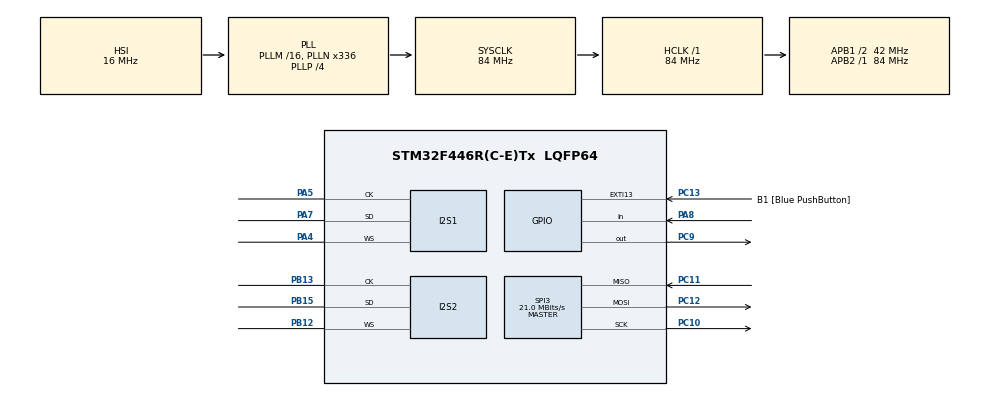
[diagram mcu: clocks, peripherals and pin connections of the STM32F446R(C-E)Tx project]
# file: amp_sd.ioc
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I2S1.ErrorAudioFreq=0.0 %
I2S1.FullDuplexMode=I2S_FULLDUPLEXMODE_DISABLE
I2S1.Instance=SPI$Index
I2S1.RealAudioFreq=8.0 KHz
I2S1.VirtualMode=I2S_MODE_MASTER
I2S2.DataFormat=I2S_DATAFORMAT_24B
I2S2.ErrorAudioFreq=-0.27 %
I2S2.FullDuplexMode=I2S_FULLDUPLEXMODE_DISABLE
I2S2.Instance=SPI$Index
I2S2.Mode=I2S_MODE_MASTER_RX
I2S2.RealAudioFreq=7.978 KHz
I2S2.Standard=I2S_STANDARD_MSB
I2S2.VirtualMode=I2S_MODE_MASTER
Mcu.Family=STM32F4
Mcu.Name=STM32F446R(C-E)Tx
Mcu.Package=LQFP64
NVIC.PriorityGroup=NVIC_PRIORITYGROUP_0
PA13.GPIO_Label=TMS
PA13.Signal=SYS_JTMS-SWDIO
PA14.GPIO_Label=TCK
PA14.Signal=SYS_JTCK-SWCLK
PA15.Signal=SPI3_NSS
PA2.GPIO_Label=USART_TX
PA2.Signal=USART2_TX
PA3.GPIO_Label=USART_RX
PA3.Signal=USART2_RX
PA4.Mode=Half_Duplex_Master
PA4.Signal=I2S1_WS
PA5.Mode=Half_Duplex_Master
PA5.Signal=I2S1_CK
PA7.Mode=Half_Duplex_Master
PA7.Signal=I2S1_SD
PA8.Signal=GPIO_Input
PB12.Mode=Half_Duplex_Master
PB12.Signal=I2S2_WS
PB13.Mode=Half_Duplex_Master
PB13.Signal=I2S2_CK
PB15.Mode=Half_Duplex_Master
PB15.Signal=I2S2_SD
PB3.GPIO_Label=SWO
PB3.Signal=SYS_JTDO-SWO
PC10.Mode=Full_Duplex_Master
PC10.Signal=SPI3_SCK
PC11.Mode=Full_Duplex_Master
PC11.Signal=SPI3_MISO
PC12.Mode=Full_Duplex_Master
PC12.Signal=SPI3_MOSI
PC13.GPIO_Label=B1 [Blue PushButton]
PC13.GPIO_ModeDefaultEXTI=GPIO_MODE_IT_FALLING
PC13.Signal=GPXTI13
PC14-OSC32_IN.Signal=RCC_OSC32_IN
PC15-OSC32_OUT.Signal=RCC_OSC32_OUT
PC9.Signal=GPIO_Output
PH0-OSC_IN.Signal=RCC_OSC_IN
PH1-OSC_OUT.Signal=RCC_OSC_OUT
ProjectManager.HeapSize=0x200
ProjectManager.StackSize=0x400
ProjectManager.TargetToolchain=STM32CubeIDE
RCC.AHBFreq_Value=84000000
RCC.APB1CLKDivider=RCC_HCLK_DIV2
RCC.APB1Freq_Value=42000000
RCC.APB1TimFreq_Value=84000000
RCC.APB2Freq_Value=84000000
RCC.APB2TimFreq_Value=84000000
RCC.CortexFreq_Value=84000000
RCC.FLatency-AdvancedSettings=FLASH_LATENCY_2
RCC.HCLKFreq_Value=84000000
RCC.HSE_VALUE=8000000
RCC.HSI_VALUE=16000000
RCC.LSE_VALUE=32768
RCC.PLLN=336
RCC.PLLP=RCC_PLLP_DIV4
RCC.SYSCLKFreq_VALUE=84000000
RCC.SYSCLKSource=RCC_SYSCLKSOURCE_PLLCLK
RCC.USBFreq_Value=168000000
RCC.VCOOutputFreq_Value=336000000
SPI3.CalculateBaudRate=21.0 MBits/s
SPI3.Direction=SPI_DIRECTION_2LINES
SPI3.Mode=SPI_MODE_MASTER
SPI3.VirtualType=VM_MASTER
board=NUCLEO-F446RE

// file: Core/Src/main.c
/* USER CODE BEGIN Header */
/**
  ******************************************************************************
  * @file           : main.c
  * @brief          : Main program body
  ******************************************************************************
  * @attention
  *
  * Copyright (c) 2023 STMicroelectronics.
  * All rights reserved.
  *
  * This software is licensed under terms that can be found in the LICENSE file
  * in the root directory of this software component.
  * If no LICENSE file comes with this software, it is provided AS-IS.
  *
  ******************************************************************************
  */
/* USER CODE END Header */
#include "main.h"

/* USER CODE BEGIN PTD */
typedef struct  WAV_HEADER{
    char                RIFF[4];        // RIFF Header      Magic header
    unsigned long       ChunkSize;      // RIFF Chunk Size
    char                WAVE[4];        // WAVE Header
    char                fmt[4];         // FMT header
    unsigned long       Subchunk1Size;  // Size of the fmt chunk
    unsigned short      AudioFormat;    // Audio format 1=PCM,6=mulaw,7=alaw, 257=IBM Mu-Law, 258=IBM A-Law, 259=ADPCM
    unsigned short      NumOfChan;      // Number of channels 1=Mono 2=Sterio
    unsigned long       SamplesPerSec;  // Sampling Frequency in Hz
    unsigned long       bytesPerSec;    // bytes per second
    unsigned short      blockAlign;     // 2=16-bit mono, 4=16-bit stereo
    unsigned short      bitsPerSample;  // Number of bits per sample
    char                Subchunk2ID[4]; // "data"  string
    unsigned long       Subchunk2Size;  // Sampled data length
}wav_hdr;

//typedef struct WaveHeader
//{
//        char RIFF_marker[4];
//        uint32_t file_size;
//        char filetype_header[4];
//        char format_marker[4];
//        uint32_t data_header_length;
//        uint16_t format_type;
//        uint16_t number_of_channels;
//        uint32_t sample_rate;
//        uint32_t bytes_per_second;
//        uint16_t bytes_per_frame;
//        uint16_t bits_per_sample;
//};
/* USER CODE END PTD */

I2S_HandleTypeDef hi2s1;
I2S_HandleTypeDef hi2s2;

SPI_HandleTypeDef hspi3;

void SystemClock_Config(void);
void PeriphCommonClock_Config(void);
static void MX_GPIO_Init(void);
static void MX_I2S1_Init(void);
static void MX_I2S2_Init(void);
static void MX_SPI3_Init(void);

/* USER CODE BEGIN 0 */
int button_press = 0;
uint16_t data_in[2];
/* USER CODE END 0 */

int main(void)
{

  /* MCU Configuration--------------------------------------------------------*/

  /* Reset of all peripherals, Initializes the Flash interface and the Systick. */
  HAL_Init();

  /* Configure the system clock */
  SystemClock_Config();

/* Configure the peripherals common clocks */
  PeriphCommonClock_Config();

  /* Initialize all configured peripherals */
  MX_GPIO_Init();
  MX_I2S1_Init();
  MX_I2S2_Init();
  MX_SPI3_Init();

  /* Infinite loop */
  /* USER CODE BEGIN WHILE */
  while (1)
  {
	if(HAL_GPIO_ReadPin(GPIOA,GPIO_PIN_8) == 1) {button_press++;}
	volatile HAL_StatusTypeDef result = HAL_I2S_Receive(&hi2s1, data_in, 2, 100);

	if (result == HAL_OK && button_press == 1) {
		volatile int32_t data_full = (int32_t) data_in[0] << 16 | data_in[1];
		volatile int16_t data_short = (int16_t) data_in[0];

		volatile uint32_t counter = 10;
		while(counter--);
	}
    /* USER CODE END WHILE */
  }
}

void SystemClock_Config(void)
{
  RCC_OscInitTypeDef RCC_OscInitStruct = {0};
  RCC_ClkInitTypeDef RCC_ClkInitStruct = {0};

  /** Configure the main internal regulator output voltage
  */
  __HAL_RCC_PWR_CLK_ENABLE();
  __HAL_PWR_VOLTAGESCALING_CONFIG(PWR_REGULATOR_VOLTAGE_SCALE3);

  /** Initializes the RCC Oscillators according to the specified parameters
  * in the RCC_OscInitTypeDef structure.
  */
  RCC_OscInitStruct.OscillatorType = RCC_OSCILLATORTYPE_HSI;
  RCC_OscInitStruct.HSIState = RCC_HSI_ON;
  RCC_OscInitStruct.HSICalibrationValue = RCC_HSICALIBRATION_DEFAULT;
  RCC_OscInitStruct.PLL.PLLState = RCC_PLL_ON;
  RCC_OscInitStruct.PLL.PLLSource = RCC_PLLSOURCE_HSI;
  RCC_OscInitStruct.PLL.PLLM = 16;
  RCC_OscInitStruct.PLL.PLLN = 336;
  RCC_OscInitStruct.PLL.PLLP = RCC_PLLP_DIV4;
  RCC_OscInitStruct.PLL.PLLQ = 2;
  RCC_OscInitStruct.PLL.PLLR = 2;
  if (HAL_RCC_OscConfig(&RCC_OscInitStruct) != HAL_OK)
  {
    Error_Handler();
  }

  /** Initializes the CPU, AHB and APB buses clocks
  */
  RCC_ClkInitStruct.ClockType = RCC_CLOCKTYPE_HCLK|RCC_CLOCKTYPE_SYSCLK
                              |RCC_CLOCKTYPE_PCLK1|RCC_CLOCKTYPE_PCLK2;
  RCC_ClkInitStruct.SYSCLKSource = RCC_SYSCLKSOURCE_PLLCLK;
  RCC_ClkInitStruct.AHBCLKDivider = RCC_SYSCLK_DIV1;
  RCC_ClkInitStruct.APB1CLKDivider = RCC_HCLK_DIV2;
  RCC_ClkInitStruct.APB2CLKDivider = RCC_HCLK_DIV1;

  if (HAL_RCC_ClockConfig(&RCC_ClkInitStruct, FLASH_LATENCY_2) != HAL_OK)
  {
    Error_Handler();
  }
}

void PeriphCommonClock_Config(void)
{
  RCC_PeriphCLKInitTypeDef PeriphClkInitStruct = {0};

  /** Initializes the peripherals clock
  */
  PeriphClkInitStruct.PeriphClockSelection = RCC_PERIPHCLK_I2S_APB1|RCC_PERIPHCLK_I2S_APB2;
  PeriphClkInitStruct.PLLI2S.PLLI2SN = 192;
  PeriphClkInitStruct.PLLI2S.PLLI2SP = RCC_PLLI2SP_DIV2;
  PeriphClkInitStruct.PLLI2S.PLLI2SM = 16;
  PeriphClkInitStruct.PLLI2S.PLLI2SR = 2;
  PeriphClkInitStruct.PLLI2S.PLLI2SQ = 2;
  PeriphClkInitStruct.PLLI2SDivQ = 1;
  PeriphClkInitStruct.I2sApb2ClockSelection = RCC_I2SAPB2CLKSOURCE_PLLI2S;
  PeriphClkInitStruct.I2sApb1ClockSelection = RCC_I2SAPB1CLKSOURCE_PLLI2S;
  if (HAL_RCCEx_PeriphCLKConfig(&PeriphClkInitStruct) != HAL_OK)
  {
    Error_Handler();
  }
}

static void MX_I2S1_Init(void)
{

  hi2s1.Instance = SPI1;
  hi2s1.Init.Mode = I2S_MODE_MASTER_TX;
  hi2s1.Init.Standard = I2S_STANDARD_PHILIPS;
  hi2s1.Init.DataFormat = I2S_DATAFORMAT_16B;
  hi2s1.Init.MCLKOutput = I2S_MCLKOUTPUT_DISABLE;
  hi2s1.Init.AudioFreq = I2S_AUDIOFREQ_8K;
  hi2s1.Init.CPOL = I2S_CPOL_LOW;
  hi2s1.Init.ClockSource = I2S_CLOCK_PLL;
  hi2s1.Init.FullDuplexMode = I2S_FULLDUPLEXMODE_DISABLE;
  if (HAL_I2S_Init(&hi2s1) != HAL_OK)
  {
    Error_Handler();
  }

}

static void MX_I2S2_Init(void)
{

  hi2s2.Instance = SPI2;
  hi2s2.Init.Mode = I2S_MODE_MASTER_RX;
  hi2s2.Init.Standard = I2S_STANDARD_MSB;
  hi2s2.Init.DataFormat = I2S_DATAFORMAT_24B;
  hi2s2.Init.MCLKOutput = I2S_MCLKOUTPUT_DISABLE;
  hi2s2.Init.AudioFreq = I2S_AUDIOFREQ_8K;
  hi2s2.Init.CPOL = I2S_CPOL_LOW;
  hi2s2.Init.ClockSource = I2S_CLOCK_PLL;
  hi2s2.Init.FullDuplexMode = I2S_FULLDUPLEXMODE_DISABLE;
  if (HAL_I2S_Init(&hi2s2) != HAL_OK)
  {
    Error_Handler();
  }

}

static void MX_SPI3_Init(void)
{

  /* SPI3 parameter configuration*/
  hspi3.Instance = SPI3;
  hspi3.Init.Mode = SPI_MODE_MASTER;
  hspi3.Init.Direction = SPI_DIRECTION_2LINES;
  hspi3.Init.DataSize = SPI_DATASIZE_8BIT;
  hspi3.Init.CLKPolarity = SPI_POLARITY_LOW;
  hspi3.Init.CLKPhase = SPI_PHASE_1EDGE;
  hspi3.Init.NSS = SPI_NSS_SOFT;
  hspi3.Init.BaudRatePrescaler = SPI_BAUDRATEPRESCALER_2;
  hspi3.Init.FirstBit = SPI_FIRSTBIT_MSB;
  hspi3.Init.TIMode = SPI_TIMODE_DISABLE;
  hspi3.Init.CRCCalculation = SPI_CRCCALCULATION_DISABLE;
  hspi3.Init.CRCPolynomial = 10;
  if (HAL_SPI_Init(&hspi3) != HAL_OK)
  {
    Error_Handler();
  }

}

static void MX_GPIO_Init(void)
{
  GPIO_InitTypeDef GPIO_InitStruct = {0};

  /* GPIO Ports Clock Enable */
  __HAL_RCC_GPIOC_CLK_ENABLE();
  __HAL_RCC_GPIOH_CLK_ENABLE();
  __HAL_RCC_GPIOA_CLK_ENABLE();
  __HAL_RCC_GPIOB_CLK_ENABLE();

  /*Configure GPIO pin Output Level */
  HAL_GPIO_WritePin(GPIOC, GPIO_PIN_9, GPIO_PIN_RESET);

  /*Configure GPIO pin : B1_Pin */
  GPIO_InitStruct.Pin = B1_Pin;
  GPIO_InitStruct.Mode = GPIO_MODE_IT_FALLING;
  GPIO_InitStruct.Pull = GPIO_NOPULL;
  HAL_GPIO_Init(B1_GPIO_Port, &GPIO_InitStruct);

  /*Configure GPIO pins : USART_TX_Pin USART_RX_Pin */
  GPIO_InitStruct.Pin = USART_TX_Pin|USART_RX_Pin;
  GPIO_InitStruct.Mode = GPIO_MODE_AF_PP;
  GPIO_InitStruct.Pull = GPIO_NOPULL;
  GPIO_InitStruct.Speed = GPIO_SPEED_FREQ_VERY_HIGH;
  GPIO_InitStruct.Alternate = GPIO_AF7_USART2;
  HAL_GPIO_Init(GPIOA, &GPIO_InitStruct);

  /*Configure GPIO pin : PC9 */
  GPIO_InitStruct.Pin = GPIO_PIN_9;
  GPIO_InitStruct.Mode = GPIO_MODE_OUTPUT_PP;
  GPIO_InitStruct.Pull = GPIO_NOPULL;
  GPIO_InitStruct.Speed = GPIO_SPEED_FREQ_LOW;
  HAL_GPIO_Init(GPIOC, &GPIO_InitStruct);

  /*Configure GPIO pin : PA8 */
  GPIO_InitStruct.Pin = GPIO_PIN_8;
  GPIO_InitStruct.Mode = GPIO_MODE_INPUT;
  GPIO_InitStruct.Pull = GPIO_NOPULL;
  HAL_GPIO_Init(GPIOA, &GPIO_InitStruct);

}

void Error_Handler(void)
{
  __disable_irq();
  while (1)
  {
  }
}
